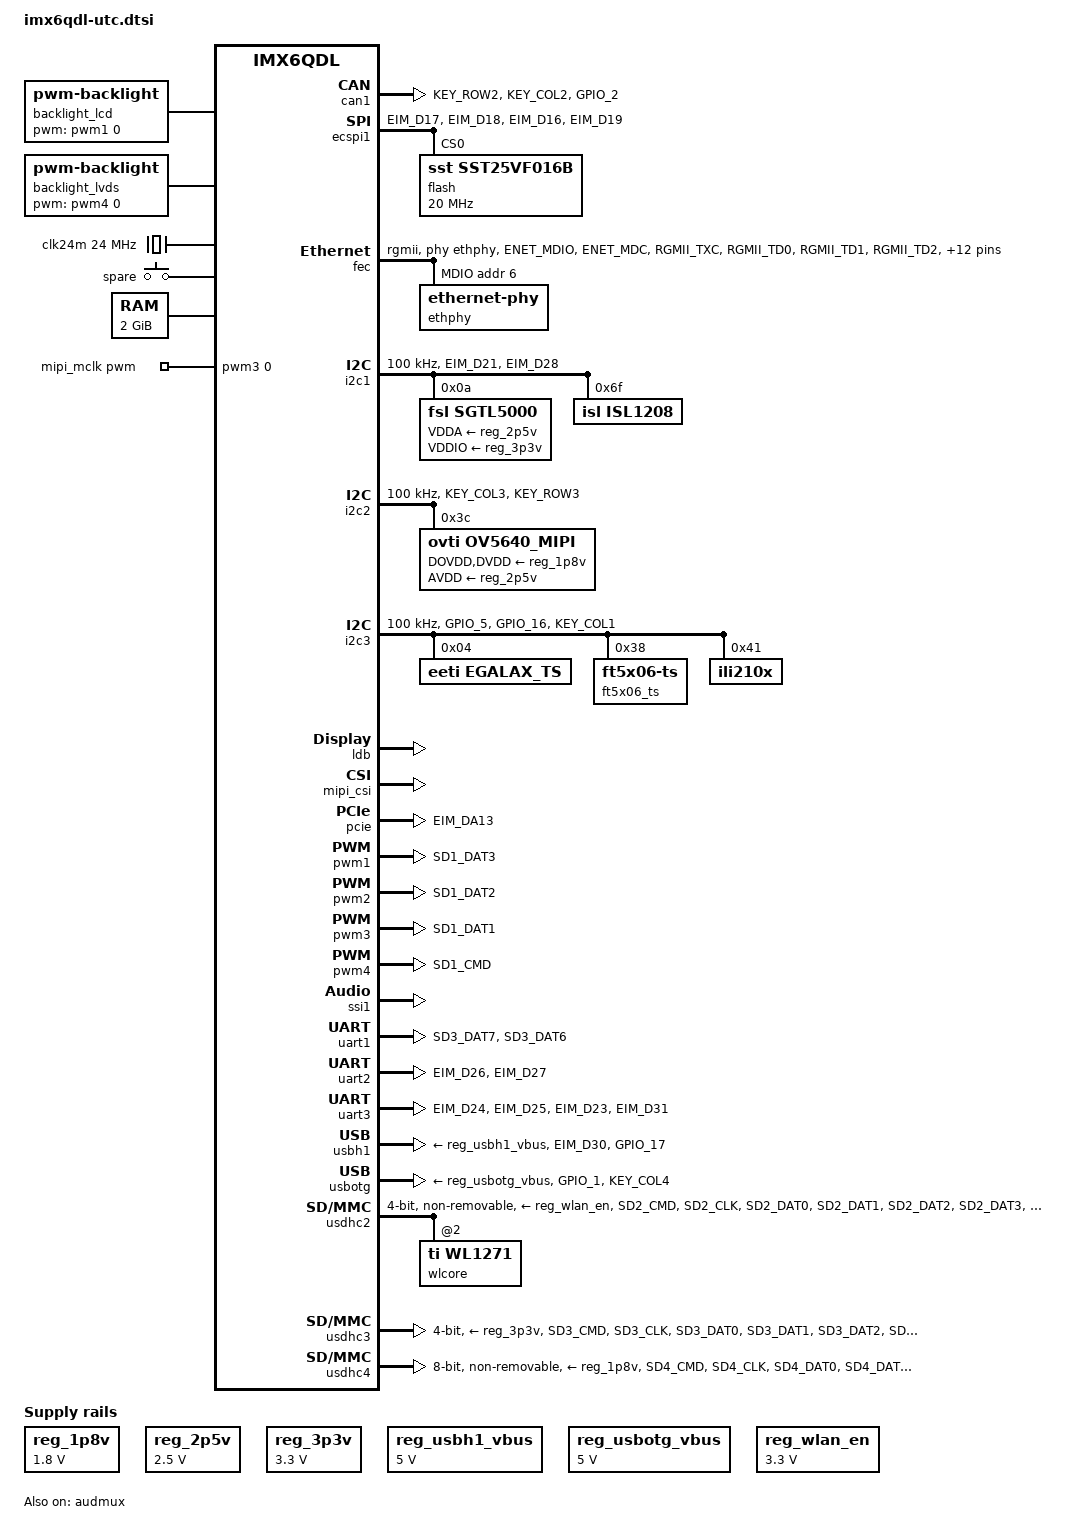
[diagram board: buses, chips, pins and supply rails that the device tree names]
/*
 * Copyright 2015 Boundary Devices
 *
 * The code contained herein is licensed under the GNU General Public
 * License. You may obtain a copy of the GNU General Public License
 * Version 2 or later at the following locations:
 *
 * http://www.opensource.org/licenses/gpl-license.html
 * http://www.gnu.org/copyleft/gpl.html
 */
#include <dt-bindings/gpio/gpio.h>
#include <dt-bindings/input/input.h>

&iomuxc {
	pinctrl-names = "default";
	pinctrl-0 = <&pinctrl_hog>;

	iomuxc_imx6q_utc: iomuxc-imx6q-utcgrp {
		status = "okay";
	};
};

&iomuxc_imx6q_utc {
	pinctrl_audmux: audmuxgrp {
		fsl,pins = <
			MX6QDL_PAD_CSI0_DAT7__AUD3_RXD		0x130b0
			MX6QDL_PAD_CSI0_DAT4__AUD3_TXC		0x130b0
			MX6QDL_PAD_CSI0_DAT5__AUD3_TXD		0x110b0
			MX6QDL_PAD_CSI0_DAT6__AUD3_TXFS		0x130b0
		>;
	};

	pinctrl_bt_rfkill: bt-rfkillgrp {
		fsl,pins = <
#define GP_BT_RFKILL_RESET	<&gpio6 16 GPIO_ACTIVE_LOW>
			MX6QDL_PAD_NANDF_CS3__GPIO6_IO16	0x030b0
		>;
	};

	pinctrl_ecspi1: ecspi1grp {
		fsl,pins = <
			MX6QDL_PAD_EIM_D17__ECSPI1_MISO		0x100b1
			MX6QDL_PAD_EIM_D18__ECSPI1_MOSI		0x100b1
			MX6QDL_PAD_EIM_D16__ECSPI1_SCLK		0x100b1
#define GP_ECSPI1_NOR_CS	<&gpio3 19 GPIO_ACTIVE_LOW>
			MX6QDL_PAD_EIM_D19__GPIO3_IO19		0x0b0b1
		>;
	};

	pinctrl_enet: enetgrp {
		fsl,pins = <
			MX6QDL_PAD_ENET_MDIO__ENET_MDIO		0x1b0b0
			MX6QDL_PAD_ENET_MDC__ENET_MDC		0x1b0b0
			MX6QDL_PAD_RGMII_TXC__RGMII_TXC		0x100b0
			MX6QDL_PAD_RGMII_TD0__RGMII_TD0		0x100b0
			MX6QDL_PAD_RGMII_TD1__RGMII_TD1		0x100b0
			MX6QDL_PAD_RGMII_TD2__RGMII_TD2		0x100b0
			MX6QDL_PAD_RGMII_TD3__RGMII_TD3		0x100b0
			MX6QDL_PAD_RGMII_TX_CTL__RGMII_TX_CTL	0x100b0
			MX6QDL_PAD_ENET_REF_CLK__ENET_TX_CLK	0x100b0
			MX6QDL_PAD_RGMII_RXC__RGMII_RXC		0x1b0b0
			MX6QDL_PAD_RGMII_RD0__RGMII_RD0		0x1b0b0
			MX6QDL_PAD_RGMII_RD1__RGMII_RD1		0x1b0b0
			MX6QDL_PAD_RGMII_RD2__RGMII_RD2		0x1b0b0
			MX6QDL_PAD_RGMII_RD3__RGMII_RD3		0x1b0b0
			MX6QDL_PAD_RGMII_RX_CTL__RGMII_RX_CTL	0x1b0b0
#define GP_ENET_PHY_RESET	<&gpio1 27 GPIO_ACTIVE_LOW>
			MX6QDL_PAD_ENET_RXD0__GPIO1_IO27	0x030b0
#define GPIRQ_ENET_PHY		<&gpio1 28 IRQ_TYPE_LEVEL_LOW>
			MX6QDL_PAD_ENET_TX_EN__GPIO1_IO28	0x1b0b0
#define GPIRQ_ENET		<&gpio1 6 IRQ_TYPE_LEVEL_HIGH>
			MX6QDL_PAD_GPIO_6__ENET_IRQ		0x000b1
		>;
	};

	pinctrl_flexcan1: flexcan1grp {
		fsl,pins = <
			MX6QDL_PAD_KEY_ROW2__FLEXCAN1_RX	0x1b0b0
			MX6QDL_PAD_KEY_COL2__FLEXCAN1_TX	0x1b0b0
#define GP_FLEXCAN1_STANDBY	<&gpio1 2 GPIO_ACTIVE_HIGH>
			MX6QDL_PAD_GPIO_2__GPIO1_IO02		0x0b0b0
		>;
	};

	pinctrl_gpio_keys: gpio_keysgrp {
		fsl,pins = <
#define GP_SPARE1		<&gpio7 1 GPIO_ACTIVE_LOW>
			MX6QDL_PAD_SD3_DAT4__GPIO7_IO01		0x1b0b0		/* Spare */
		>;
	};

	pinctrl_hog: hoggrp {
		fsl,pins = <
			MX6QDL_PAD_GPIO_4__GPIO1_IO04		0x1b0b0		/* UGPIO5 */
			MX6QDL_PAD_GPIO_7__GPIO1_IO07		0x1b0b0		/* UGPIO7 */
			MX6QDL_PAD_GPIO_8__GPIO1_IO08		0x1b0b0		/* UGPIO8 */
			MX6QDL_PAD_GPIO_9__GPIO1_IO09		0x1b0b0		/* UGPIO9 */
			MX6QDL_PAD_NANDF_D2__GPIO2_IO02		0x1b0b0		/* spare */
			MX6QDL_PAD_EIM_EB3__GPIO2_IO31		0x1b0b0		/* UGPIO10 */
			MX6QDL_PAD_EIM_DA10__GPIO3_IO10		0x1b0b0		/* CSI RGB GP */
			MX6QDL_PAD_KEY_COL0__GPIO4_IO06		0x1b0b0		/* UGPIO0 */
			MX6QDL_PAD_KEY_ROW0__GPIO4_IO07		0x1b0b0		/* UGPIO1 */
			MX6QDL_PAD_KEY_ROW1__GPIO4_IO09		0x1b0b0		/* UGPIO3/CSI RGB GP */
			MX6QDL_PAD_KEY_ROW4__GPIO4_IO15		0x1b0b0		/* UGPIO4 */
			MX6QDL_PAD_EIM_WAIT__GPIO5_IO00		0x1b0b0		/* UGPIO12/Microphone Detect */
			MX6QDL_PAD_NANDF_ALE__GPIO6_IO08	0x1b0b0		/* spare */
			MX6QDL_PAD_NANDF_D0__GPIO2_IO00		0x1b0b0		/* J6 - LVDS Display */
		>;
	};

	pinctrl_i2c1: i2c1grp {
		fsl,pins = <
			MX6QDL_PAD_EIM_D21__I2C1_SCL		0x4001b8b1
			MX6QDL_PAD_EIM_D28__I2C1_SDA		0x4001b8b1
		>;
	};

	pinctrl_i2c1_isl1208: i2c1-isl1208grp {
		fsl,pins = <
#define GPIRQ_RTC_ISL1208	<&gpio2 27 IRQ_TYPE_EDGE_FALLING>
			MX6QDL_PAD_EIM_LBA__GPIO2_IO27		0x1b0b0
		>;
	};

	pinctrl_i2c1_sgtl5000: i2c1-sgtl5000grp {
		fsl,pins = <
			MX6QDL_PAD_GPIO_0__CCM_CLKO1		0x000b0		/* sys_mclk */
		>;
	};

	pinctrl_i2c2: i2c2grp {
		fsl,pins = <
			MX6QDL_PAD_KEY_COL3__I2C2_SCL		0x4001b8b1
			MX6QDL_PAD_KEY_ROW3__I2C2_SDA		0x4001b8b1
		>;
	};

	pinctrl_i2c2_ov5640_mipi: i2c2-ov5640-mipigrp {
		fsl,pins = <
			MX6QDL_PAD_GPIO_3__CCM_CLKO2		0x000b0		/* mclk */
#define GP_OV5640_MIPI_POWER_DOWN	<&gpio6 9 GPIO_ACTIVE_HIGH>
			MX6QDL_PAD_NANDF_WP_B__GPIO6_IO09	0x0b0b0
#define GP_OV5640_MIPI_RESET		<&gpio6 31 GPIO_ACTIVE_LOW>
			MX6QDL_PAD_EIM_BCLK__GPIO6_IO31		0x030b0
		>;
	};

	pinctrl_i2c3: i2c3grp {
		fsl,pins = <
			MX6QDL_PAD_GPIO_5__I2C3_SCL		0x4001b8b1
			MX6QDL_PAD_GPIO_16__I2C3_SDA		0x4001b8b1
#define GPIRQ_I2C3_J7	<&gpio4 8 IRQ_TYPE_EDGE_FALLING>
#define GP_I2C3_J7	<&gpio4 8 GPIO_ACTIVE_LOW>
			MX6QDL_PAD_KEY_COL1__GPIO4_IO08		0x1b0b0
		>;
	};

	pinctrl_lcd: lcdgrp {
		fsl,pins = <
			MX6QDL_PAD_DI0_DISP_CLK__IPU1_DI0_DISP_CLK	0x10
			MX6QDL_PAD_DI0_PIN15__IPU1_DI0_PIN15		0x10
			MX6QDL_PAD_DI0_PIN2__IPU1_DI0_PIN02		0x10
			MX6QDL_PAD_DI0_PIN3__IPU1_DI0_PIN03		0x10
			MX6QDL_PAD_DISP0_DAT0__IPU1_DISP0_DATA00	0x10
			MX6QDL_PAD_DISP0_DAT1__IPU1_DISP0_DATA01	0x10
			MX6QDL_PAD_DISP0_DAT2__IPU1_DISP0_DATA02	0x10
			MX6QDL_PAD_DISP0_DAT3__IPU1_DISP0_DATA03	0x10
			MX6QDL_PAD_DISP0_DAT4__IPU1_DISP0_DATA04	0x10
			MX6QDL_PAD_DISP0_DAT5__IPU1_DISP0_DATA05	0x10
			MX6QDL_PAD_DISP0_DAT6__IPU1_DISP0_DATA06	0x10
			MX6QDL_PAD_DISP0_DAT7__IPU1_DISP0_DATA07	0x10
			MX6QDL_PAD_DISP0_DAT8__IPU1_DISP0_DATA08	0x10
			MX6QDL_PAD_DISP0_DAT9__IPU1_DISP0_DATA09	0x10
			MX6QDL_PAD_DISP0_DAT10__IPU1_DISP0_DATA10	0x10
			MX6QDL_PAD_DISP0_DAT11__IPU1_DISP0_DATA11	0x10
			MX6QDL_PAD_DISP0_DAT12__IPU1_DISP0_DATA12	0x10
			MX6QDL_PAD_DISP0_DAT13__IPU1_DISP0_DATA13	0x10
			MX6QDL_PAD_DISP0_DAT14__IPU1_DISP0_DATA14	0x10
			MX6QDL_PAD_DISP0_DAT15__IPU1_DISP0_DATA15	0x10
			MX6QDL_PAD_DISP0_DAT16__IPU1_DISP0_DATA16	0x10
			MX6QDL_PAD_DISP0_DAT17__IPU1_DISP0_DATA17	0x10
			MX6QDL_PAD_DISP0_DAT18__IPU1_DISP0_DATA18	0x10
			MX6QDL_PAD_DISP0_DAT19__IPU1_DISP0_DATA19	0x10
			MX6QDL_PAD_DISP0_DAT20__IPU1_DISP0_DATA20	0x10
			MX6QDL_PAD_DISP0_DAT21__IPU1_DISP0_DATA21	0x10
			MX6QDL_PAD_DISP0_DAT22__IPU1_DISP0_DATA22	0x10
			MX6QDL_PAD_DISP0_DAT23__IPU1_DISP0_DATA23	0x10
		>;
	};

	pinctrl_pcie: pciegrp {
		fsl,pins = <
#define GP_PCIE_RESET	<&gpio3 13 GPIO_ACTIVE_LOW>
			MX6QDL_PAD_EIM_DA13__GPIO3_IO13		0x030b0		/* UGPIO13/PCIe reset */
		>;
	};

	pinctrl_pwm1: pwm1grp {
		fsl,pins = <
			MX6QDL_PAD_SD1_DAT3__PWM1_OUT		0x030b1
		>;
	};

	pinctrl_pwm2: pwm2grp {
		fsl,pins = <
			MX6QDL_PAD_SD1_DAT2__PWM2_OUT		0x030b1
		>;
	};

	pinctrl_pwm3: pwm3grp {
		fsl,pins = <
			MX6QDL_PAD_SD1_DAT1__PWM3_OUT		0x030b1
		>;
	};

	pinctrl_pwm4: pwm4grp {
		fsl,pins = <
			MX6QDL_PAD_SD1_CMD__PWM4_OUT		0x030b1
		>;
	};

	pinctrl_reg_usbotg_vbus: reg-usbotg-vbusgrp {
		fsl,pins = <
#define GP_REG_USBOTG	<&gpio3 22 GPIO_ACTIVE_HIGH>
			MX6QDL_PAD_EIM_D22__GPIO3_IO22		0x030b0
		>;
	};

	pinctrl_reg_wlan_en: reg-wlan-engrp {
		fsl,pins = <
#define GP_REG_WLAN_EN	<&gpio6 15 GPIO_ACTIVE_HIGH>
			MX6QDL_PAD_NANDF_CS2__GPIO6_IO15	0x030b0
		>;
	};

	pinctrl_uart1: uart1grp {
		fsl,pins = <
			MX6QDL_PAD_SD3_DAT7__UART1_TX_DATA	0x1b0b1
			MX6QDL_PAD_SD3_DAT6__UART1_RX_DATA	0x1b0b1
		>;
	};

	pinctrl_uart2: uart2grp {
		fsl,pins = <
			MX6QDL_PAD_EIM_D26__UART2_TX_DATA	0x1b0b1
			MX6QDL_PAD_EIM_D27__UART2_RX_DATA	0x1b0b1
		>;
	};

	pinctrl_uart3: uart3grp {
		fsl,pins = <
			MX6QDL_PAD_EIM_D24__UART3_TX_DATA	0x1b0b1
			MX6QDL_PAD_EIM_D25__UART3_RX_DATA	0x1b0b1
			MX6QDL_PAD_EIM_D23__UART3_CTS_B		0x1b0b1
			MX6QDL_PAD_EIM_D31__UART3_RTS_B		0x1b0b1
		>;
	};

	pinctrl_usbh1: usbh1grp {
		fsl,pins = <
 			MX6QDL_PAD_EIM_D30__USB_H1_OC		0x1b0b0
#define GP_USBH1_HUB_RESET	<&gpio7 12 GPIO_ACTIVE_LOW>
			MX6QDL_PAD_GPIO_17__GPIO7_IO12		0x030b0
		>;
	};

	pinctrl_usbh1_vbus: usbh1_vbusgrp {
		fsl,pins = <
#define GP_USBH1_PWR			<&gpio2 28 GPIO_ACTIVE_HIGH>
			MX6QDL_PAD_EIM_EB0__GPIO2_IO28		0x030b0
		>;
	};

	pinctrl_usbotg: usbotggrp {
		fsl,pins = <
			MX6QDL_PAD_GPIO_1__USB_OTG_ID		0x17059
			MX6QDL_PAD_KEY_COL4__USB_OTG_OC		0x1b0b0
		>;
	};

	pinctrl_usdhc2: usdhc2grp {
		fsl,pins = <
			MX6QDL_PAD_SD2_CMD__SD2_CMD		0x17071
			MX6QDL_PAD_SD2_CLK__SD2_CLK		0x10071
			MX6QDL_PAD_SD2_DAT0__SD2_DATA0		0x17071
			MX6QDL_PAD_SD2_DAT1__SD2_DATA1		0x17071
			MX6QDL_PAD_SD2_DAT2__SD2_DATA2		0x17071
			MX6QDL_PAD_SD2_DAT3__SD2_DATA3		0x17071
			MX6QDL_PAD_SD1_CLK__OSC32K_32K_OUT	0x000b0		/* TiWi slow clock */
#define GPIRQ_WL1271	<&gpio6 14 IRQ_TYPE_LEVEL_HIGH>
			MX6QDL_PAD_NANDF_CS1__GPIO6_IO14	0x100b0
		>;
	};

	pinctrl_usdhc3_50mhz: usdhc3_50mhzgrp {
		fsl,pins = <
			MX6QDL_PAD_SD3_CMD__SD3_CMD		0x17059
			MX6QDL_PAD_SD3_CLK__SD3_CLK		0x10059
			MX6QDL_PAD_SD3_DAT0__SD3_DATA0		0x17059
			MX6QDL_PAD_SD3_DAT1__SD3_DATA1		0x17059
			MX6QDL_PAD_SD3_DAT2__SD3_DATA2		0x17059
			MX6QDL_PAD_SD3_DAT3__SD3_DATA3		0x17059
#define GP_USDHC3_CD	<&gpio7 0 GPIO_ACTIVE_LOW>
			MX6QDL_PAD_SD3_DAT5__GPIO7_IO00		0x1b0b0
		>;
	};

	pinctrl_usdhc4_50mhz: usdhc4_50mhzgrp {
		fsl,pins = <
			MX6QDL_PAD_SD4_CMD__SD4_CMD		0x17071
			MX6QDL_PAD_SD4_CLK__SD4_CLK		0x10071
			MX6QDL_PAD_SD4_DAT0__SD4_DATA0		0x17071
			MX6QDL_PAD_SD4_DAT1__SD4_DATA1		0x17071
			MX6QDL_PAD_SD4_DAT2__SD4_DATA2		0x17071
			MX6QDL_PAD_SD4_DAT3__SD4_DATA3		0x17071
			MX6QDL_PAD_SD4_DAT4__SD4_DATA4		0x17071
			MX6QDL_PAD_SD4_DAT5__SD4_DATA5		0x17071
			MX6QDL_PAD_SD4_DAT6__SD4_DATA6		0x17071
			MX6QDL_PAD_SD4_DAT7__SD4_DATA7		0x17071
#define GP_EMMC_RESET	<&gpio2 5 GPIO_ACTIVE_LOW>
			MX6QDL_PAD_NANDF_D5__GPIO2_IO05		0x1b0b0		/* EMMC reset */
		>;
	};
};

/ {
	aliases {
		backlight_lcd = &backlight_lcd;
		backlight_lvds = &backlight_lvds;
		fb_lcd = &fb_lcd;
		fb_lvds = &fb_lvds;
		lcd = &lcd;
		ldb = &ldb;
		mmc0 = &usdhc3;
		mmc1 = &usdhc4;
		mmc2 = &usdhc2;
		mxcfb0 = &fb_lvds;
		mxcfb1 = &fb_lcd;
		pwm_lcd = &pwm1;
		pwm_lvds = &pwm4;
		t_lvds = &t_lvds;
	};

	backlight_lcd: backlight_lcd {
		brightness-levels = <0 10 20 30 40 50 60 70 80 90 100>;
		compatible = "pwm-backlight";
		default-brightness-level = <10>;
		display = <&fb_lcd>;
		pwms = <&pwm1 0 5000000>;
	};

	backlight_lvds: backlight_lvds {
		brightness-levels = <0 10 20 30 40 50 60 70 80 90 100>;
		compatible = "pwm-backlight";
		default-brightness-level = <10>;
		display = <&fb_lvds>;
		pwms = <&pwm4 0 5000000>;
	};

	bt_rfkill {
		compatible = "net,rfkill-gpio";
		pinctrl-names = "default";
		pinctrl-0 = <&pinctrl_bt_rfkill>;
		name = "bt_rfkill";
		type = <2>;	/* bluetooth */
		reset-gpios = GP_BT_RFKILL_RESET;
	};

	clocks {
		clk24m: clk24m {
			compatible = "fixed-clock";
			#clock-cells = <0>;
			clock-frequency = <24000000>;
		};
	};

	fb_lcd: fb@0 {
		compatible = "fsl,mxc_sdc_fb";
		disp_dev = "lcd";
		interface_pix_fmt = "RGB666";
		default_bpp = <16>;
		int_clk = <0>;
		late_init = <0>;
		status = "disabled";
	};

	fb_lvds: fb@1 {
		compatible = "fsl,mxc_sdc_fb";
		disp_dev = "ldb";
		interface_pix_fmt = "RGB24";
		default_bpp = <32>;
		int_clk = <0>;
		late_init = <0>;
		status = "okay";
	};

	gpio_keys: gpio-keys {
		compatible = "gpio-keys";
		pinctrl-names = "default";
		pinctrl-0 = <&pinctrl_gpio_keys>;
		spare {
			label = "spare";
			gpios = GP_SPARE1;
			linux,code = <KEY_POWER>;
			gpio-key,wakeup;
		};
	};

	lcd: lcd@0 {
		compatible = "fsl,lcd";
		ipu_id = <0>;
		disp_id = <0>;
		default_ifmt = "RGB666";
		pinctrl-names = "default";
		pinctrl-0 = <&pinctrl_lcd>;
		status = "okay";
	};

	memory {
		reg = <0x10000000 0x80000000>;
	};

	mipi_mclk: mipi_mclk {
		compatible = "pwm-clock";
		#clock-cells = <0>;
		clock-frequency = <22000000>;
		clock-output-names = "mipi_mclk";
		pwms = <&pwm3 0 45>; /* 1 / 45 ns = 22 MHz */
	};

	regulators {
		compatible = "simple-bus";
		#address-cells = <1>;
		#size-cells = <0>;

		reg_1p8v: regulator@0 {
			compatible = "regulator-fixed";
			reg = <0>;
			regulator-name = "1P8V";
			regulator-min-microvolt = <1800000>;
			regulator-max-microvolt = <1800000>;
			regulator-always-on;
		};

		reg_2p5v: regulator@1 {
			compatible = "regulator-fixed";
			reg = <1>;
			regulator-name = "2P5V";
			regulator-min-microvolt = <2500000>;
			regulator-max-microvolt = <2500000>;
			regulator-always-on;
		};

		reg_3p3v: regulator@2 {
			compatible = "regulator-fixed";
			reg = <2>;
			regulator-name = "3P3V";
			regulator-min-microvolt = <3300000>;
			regulator-max-microvolt = <3300000>;
			regulator-always-on;
		};

		reg_usbh1_vbus: regulator@3 {
			compatible = "regulator-fixed";
			reg = <3>;
			pinctrl-names = "default";
			pinctrl-0 = <&pinctrl_usbh1_vbus>;
			regulator-name = "usbh1_vbus";
			regulator-min-microvolt = <5000000>;
			regulator-max-microvolt = <5000000>;
			gpio = GP_USBH1_PWR;
			enable-active-high;
		};

		reg_usbotg_vbus: regulator@4 {
			compatible = "regulator-fixed";
			reg = <4>;
			pinctrl-names = "default";
			pinctrl-0 = <&pinctrl_reg_usbotg_vbus>;
			regulator-name = "usb_otg_vbus";
			regulator-min-microvolt = <5000000>;
			regulator-max-microvolt = <5000000>;
			gpio = GP_REG_USBOTG;
			enable-active-high;
		};

		reg_wlan_en: regulator@5 {
			compatible = "regulator-fixed";
			reg = <5>;
			pinctrl-names = "default";
			pinctrl-0 = <&pinctrl_reg_wlan_en>;
			regulator-name = "wlan-en";
			regulator-min-microvolt = <3300000>;
			regulator-max-microvolt = <3300000>;
			gpio = GP_REG_WLAN_EN;
			startup-delay-us = <70000>;
			enable-active-high;
		};
	};

	sound {
		compatible = "fsl,imx6q-utc-sgtl5000",
			     "fsl,imx-audio-sgtl5000";
		model = "imx6q-utc-sgtl5000";
		ssi-controller = <&ssi1>;
		audio-codec = <&sgtl5000>;
		audio-routing =
			"MIC_IN", "Mic Jack",
			"Mic Jack", "Mic Bias",
			"Headphone Jack", "HP_OUT";
		mux-int-port = <1>;
		mux-ext-port = <3>;
	};

	v4l2_cap_0 {
		compatible = "fsl,imx6q-v4l2-capture";
		ipu_id = <0>;
		csi_id = <0>;
		mipi_camera = <1>;
		mclk_source = <0>;
		status = "okay";
	};

	v4l2_out {
		compatible = "fsl,mxc_v4l2_output";
		status = "okay";
	};
};

&audmux {
	pinctrl-names = "default";
	pinctrl-0 = <&pinctrl_audmux>;
	status = "okay";
};

&can1 {
	pinctrl-names = "default";
	pinctrl-0 = <&pinctrl_flexcan1>;
	trx-stby-gpio = GP_FLEXCAN1_STANDBY;
	status = "okay";
};

&ecspi1 {
	pinctrl-names = "default";
	pinctrl-0 = <&pinctrl_ecspi1>;
	fsl,spi-num-chipselects = <1>;
	cs-gpios = GP_ECSPI1_NOR_CS;
	status = "okay";

	flash: m25p80@0 {
		compatible = "sst,sst25vf016b";
		spi-max-frequency = <20000000>;
		reg = <0>;
		#address-cells = <1>;
		#size-cells = <1>;
		mtd@00000000 {
			label = "U-Boot";
			reg = <0x0 0xC0000>;
		};

		mtd@000C0000 {
			label = "env";
			reg = <0xC0000 0x2000>;
		};

		mtd@000C2000 {
			label = "splash";
			reg = <0xC2000 0x13e000>;
		};
	};
};

&fec {
	interrupts-extended = GPIRQ_ENET,
			      <&intc 0 119 IRQ_TYPE_LEVEL_HIGH>;
	phy-handle = <&ethphy>;
	phy-mode = "rgmii";
#if 0
	phy-reset-gpios = GP_ENET_PHY_RESET;
#endif
	pinctrl-names = "default";
	pinctrl-0 = <&pinctrl_enet>;
	status = "okay";

	mdio {
		#address-cells = <0>;
		#size-cells = <1>;

		ethphy: ethernet-phy@6 {
			reg = <6>;
			interrupts-extended = GPIRQ_ENET_PHY;
		};
	};
};

&i2c1 {
	clock-frequency = <100000>;
	pinctrl-names = "default";
	pinctrl-0 = <&pinctrl_i2c1>;
	status = "okay";

	sgtl5000: sgtl5000@0a {
		compatible = "fsl,sgtl5000";
		pinctrl-names = "default";
		pinctrl-0 = <&pinctrl_i2c1_sgtl5000>;
		reg = <0x0a>;
		clocks = <&clks IMX6QDL_CLK_CKO>;
		VDDA-supply = <&reg_2p5v>;
		VDDIO-supply = <&reg_3p3v>;
	};

	isl1208@6f {
		compatible = "isl,isl1208";
		pinctrl-names = "default";
		pinctrl-0 = <&pinctrl_i2c1_isl1208>;
		reg = <0x6f>;
		interrupts-extended = GPIRQ_RTC_ISL1208;
	};
};

&i2c2 {
	clock-frequency = <100000>;
	pinctrl-names = "default";
	pinctrl-0 = <&pinctrl_i2c2>;
	status = "okay";

	ov5640_mipi: ov5640_mipi@3c {
		compatible = "ovti,ov5640_mipi";
		reg = <0x3c>;
		pinctrl-names = "default";
		pinctrl-0 = <&pinctrl_i2c2_ov5640_mipi>;
		clocks = <&mipi_mclk>;
		clock-names = "csi_mclk";
		DOVDD-supply = <&reg_1p8v>;
		AVDD-supply = <&reg_2p5v>;
		DVDD-supply = <&reg_1p8v>;
		pwn-gpios = GP_OV5640_MIPI_POWER_DOWN;
		rst-gpios = GP_OV5640_MIPI_RESET;
		ipu_id = <0>;
		csi_id = <1>;
		mclk = <22000000>;
		mclk_source = <0>;
	};
};

&i2c3 {
	clock-frequency = <100000>;
	pinctrl-names = "default";
	pinctrl-0 = <&pinctrl_i2c3>;
	status = "okay";

	egalax_ts@04 {
		compatible = "eeti,egalax_ts";
		reg = <0x04>;
		interrupts-extended = GPIRQ_I2C3_J7;
		wakeup-gpios = GP_I2C3_J7;
	};

	ft5x06_ts@38 {
		compatible = "ft5x06-ts";
		reg = <0x38>;
		interrupts-extended = GPIRQ_I2C3_J7;
		wakeup-gpios = GP_I2C3_J7;
	};

	ili210x@41 {
		compatible = "ili210x";
		reg = <0x41>;
		interrupts-extended = GPIRQ_I2C3_J7;
		wakeup-gpios = GP_I2C3_J7;
	};
};

&ldb {
	status = "okay";

	lvds-channel@0 {
		crtc = "ipu1-di1";
		fsl,data-mapping = "spwg";
		fsl,data-width = <18>;
		status = "okay";
		primary;

		display-timings {
			t_lvds: t_lvds_default {
				/* lg1280x800 values may be changed in bootscript */
				clock-frequency = <72000000>;
				hactive = <1280>;
				vactive = <800>;
				hback-porch = <48>;
				hfront-porch = <80>;
				vback-porch = <15>;
				vfront-porch = <2>;
				hsync-len = <32>;
				vsync-len = <6>;
			};
		};
	};
};

&mipi_csi {
	ipu_id = <0>;
	csi_id = <1>;
	v_channel = <0>;
	lanes = <2>;
	status = "okay";
};

&pcie {
	pinctrl-names = "default";
	pinctrl-0 = <&pinctrl_pcie>;
	reset-gpios = GP_PCIE_RESET;
	status = "okay";
};

&pwm1 {
	pinctrl-names = "default";
	pinctrl-0 = <&pinctrl_pwm1>;
	status = "okay";
};

&pwm2 {
	pinctrl-names = "default";
	pinctrl-0 = <&pinctrl_pwm2>;
	status = "okay";
};

&pwm3 {
	pinctrl-names = "default";
	pinctrl-0 = <&pinctrl_pwm3>;
	status = "okay";
};

&pwm4 {
	pinctrl-names = "default";
	pinctrl-0 = <&pinctrl_pwm4>;
	status = "okay";
};

&ssi1 {
	fsl,mode = "i2s-slave";
	status = "okay";
};

&uart1 {
	pinctrl-names = "default";
	pinctrl-0 = <&pinctrl_uart1>;
	status = "okay";
};

&uart2 {
	pinctrl-names = "default";
	pinctrl-0 = <&pinctrl_uart2>;
	status = "okay";
};

&uart3 {
	pinctrl-names = "default";
	pinctrl-0 = <&pinctrl_uart3>;
	fsl,uart-has-rtscts;
	status = "okay";
};

&usbh1 {
	vbus-supply = <&reg_usbh1_vbus>;
	pinctrl-names = "default";
	pinctrl-0 = <&pinctrl_usbh1>;
	disable-over-current;
	reset-gpios = GP_USBH1_HUB_RESET;
	status = "okay";
};

&usbotg {
	vbus-supply = <&reg_usbotg_vbus>;
	pinctrl-names = "default";
	pinctrl-0 = <&pinctrl_usbotg>;
	disable-over-current;
	status = "okay";
};

&usdhc2 {	/* uSDHC2, TiWi wl1271 */
	pinctrl-names = "default";
	pinctrl-0 = <&pinctrl_usdhc2>;
	bus-width = <4>;
	non-removable;
	vmmc-supply = <&reg_wlan_en>;
	vqmmc-1-8-v;
	cap-power-off-card;
	keep-power-in-suspend;
	status = "okay";

	#address-cells = <1>;
	#size-cells = <0>;
	wlcore: wlcore@2 {
		compatible = "ti,wl1271";
		interrupts-extended = GPIRQ_WL1271;
		reg = <2>;
		ref-clock-frequency = <38400000>;
	};
};

&usdhc3 {
	pinctrl-names = "default";
	pinctrl-0 = <&pinctrl_usdhc3_50mhz>;
	bus-width = <4>;
	cd-gpios = GP_USDHC3_CD;
	vmmc-supply = <&reg_3p3v>;
	status = "okay";
};

&usdhc4 {
	pinctrl-names = "default";
	pinctrl-0 = <&pinctrl_usdhc4_50mhz>;
	bus-width = <8>;
	non-removable;
	vqmmc-1-8-v;
	vmmc-supply = <&reg_1p8v>;
	keep-power-in-suspend;
	status = "okay";
};
